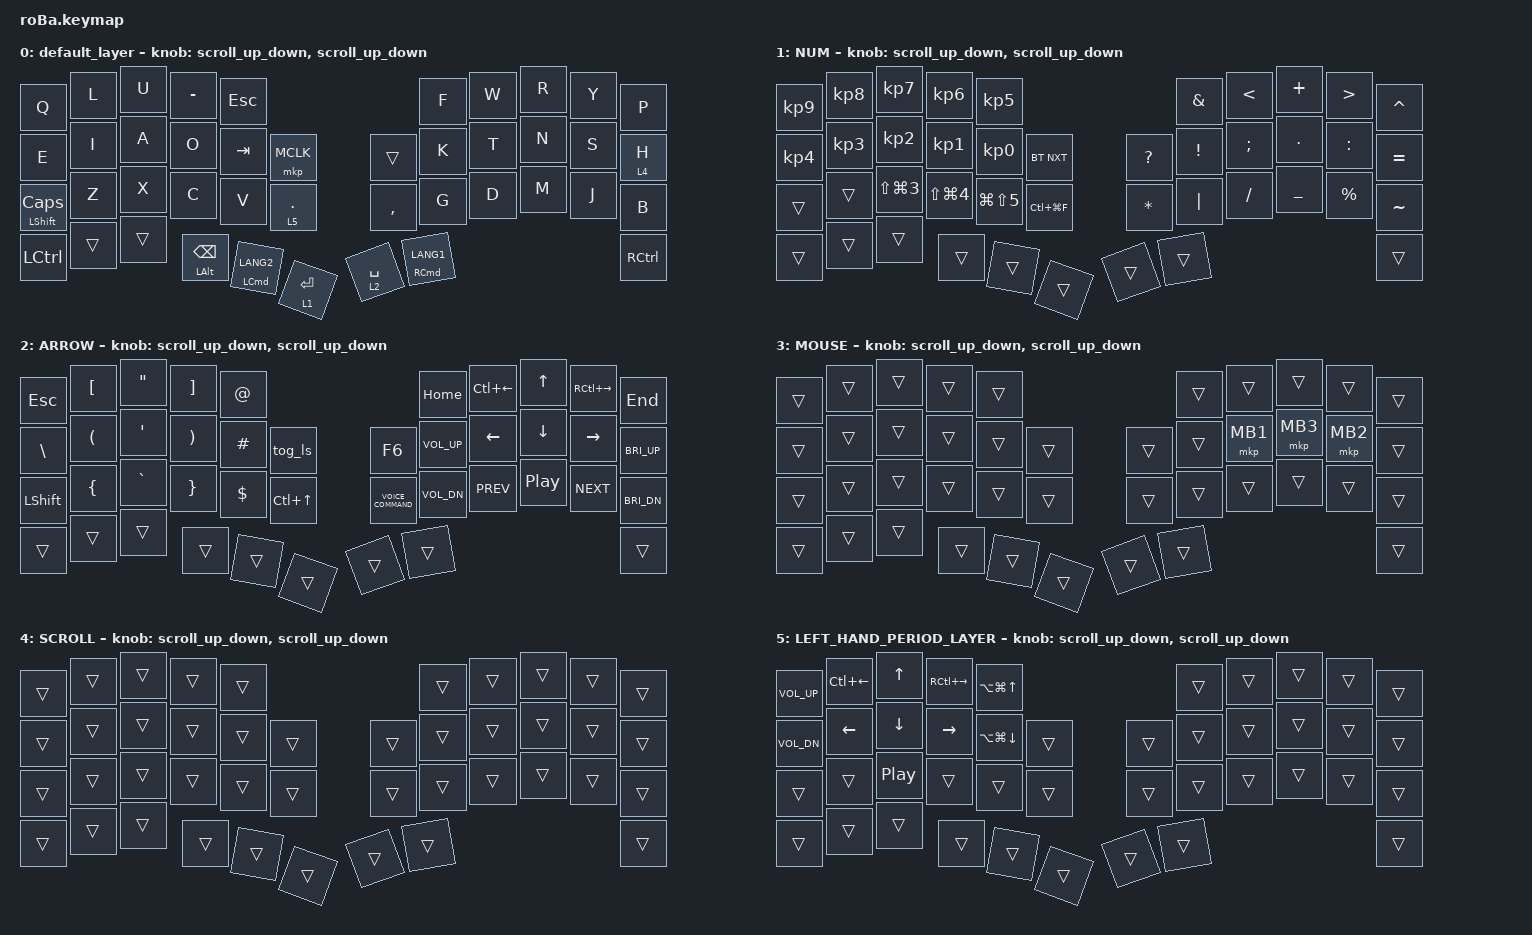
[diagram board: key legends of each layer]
#include <input/processors.dtsi>
#include <layout_shift.dtsi>
#include <layout_shift_kp_override.dtsi>
#include <behaviors.dtsi>
#include <dt-bindings/zmk/bt.h>
#include <dt-bindings/zmk/keys.h>
#include <dt-bindings/zmk/pointing.h>

#define ZMK_POINTING_DEFAULT_SCRL_VAL 100
#define MOUSE 3 // 各自のマウスレイヤーに合わせて設定

&mkp_input_listener { input-processors = <&zip_temp_layer MOUSE 2500>; };

&mt {
    flavor = "balanced";
    quick-tap-ms = <0>;
};



/ {
    combos {
        compatible = "zmk,combos";
        // Press Q + P together to unlock Studio without replacing a key.
        studio_unlock_combo {
            timeout-ms = <50>;
            key-positions = <0 9>;
            bindings = <&studio_unlock>;
            slow-release;
        };
    };

    macros {
        to_layer_0: to_layer_0 {
            compatible = "zmk,behavior-macro-one-param";
            #binding-cells = <1>;
            bindings = <&to 0 &macro_param_1to1 &kp MACRO_PLACEHOLDER>;
            label = "TO_LAYER_0";
        };

    };

    behaviors {
        lt_to_layer_0: lt_to_layer_0 {
            compatible = "zmk,behavior-hold-tap";
            label = "LAYER_TAP_TO_0";
            bindings = <&mo>, <&to_layer_0>;

            #binding-cells = <2>;
            tapping-term-ms = <200>;
        };

        scroll_up_down: behavior_sensor_rotate_mouse_wheel_up_down {
            compatible = "zmk,behavior-sensor-rotate";
            #sensor-binding-cells = <0>;
            bindings = <&msc SCRL_UP>, <&msc SCRL_DOWN>;

            // 追加: スクロールのタップ時間を設定 (20ms)

            tap-ms = <20>;
        };

    };

    keymap {
        compatible = "zmk,keymap";

        default_layer {
            bindings = <
&kp Q                    &kp L   &kp U   &kp MINUS               &kp ESC                                               &kp F                    &kp W  &kp R  &kp Y  &kp P
&kp E                    &kp I   &kp A   &kp O                   &kp TAB                 &mkp MCLK        &trans       &kp K                    &kp T  &kp N  &kp S  &lt 4 H
&mt LEFT_SHIFT CAPSLOCK  &kp Z   &kp X   &kp C                   &kp V                   &lt 5 PERIOD      &kp COMMA    &kp G                    &kp D  &kp M  &kp J  &kp B
&kp LCTRL                &trans  &trans  &mt LEFT_ALT BACKSPACE  &mt LEFT_COMMAND LANG2  &lt 1 ENTER      &lt 2 SPACE  &mt RIGHT_COMMAND LANG1                       &kp RCTRL
            >;

            // 左右ともネイティブの通常スクロール。アプリ別変換はBTT側で行う。
            sensor-bindings = <&scroll_up_down>, <&scroll_up_down>;
        };

        NUM {
            bindings = <
&kp KP_NUMBER_9  &kp KP_NUMBER_8  &kp KP_NUMBER_7       &kp KP_NUMBER_6       &kp KP_NUMBER_5                                &kp AMPS         &kp LT     &kp PLUS   &kp GT     &kp CARET
&kp KP_NUMBER_4  &kp KP_NUMBER_3  &kp KP_NUMBER_2       &kp KP_NUMBER_1       &kp KP_NUMBER_0  &bt BT_NXT         &kp QMARK  &kp EXCLAMATION  &kp SEMI   &kp DOT    &kp COLON  &kp EQUAL
&trans           &trans           &kp LS(LG(NUMBER_3))  &kp LS(LG(NUMBER_4))  &kp LG(LS(N5))   &kp LC(LG(F))      &kp STAR   &kp PIPE         &kp SLASH  &kp UNDER  &kp PRCNT  &kp TILDE
&trans           &trans           &trans                &trans                &trans           &trans             &trans     &trans                                            &trans
            >;

            sensor-bindings = <&scroll_up_down>, <&scroll_up_down>;
        };

        ARROW {
            bindings = <
&kp ESCAPE      &kp LBKT  &kp DQT    &kp RBKT  &kp AT                                         &kp HOME      &kp LC(LEFT_ARROW)  &kp UP_ARROW      &kp RC(RIGHT_ARROW)  &kp END
&kp BACKSLASH   &kp LPAR  &kp SQT    &kp RPAR  &kp HASH  &tog_ls         &kp F6               &kp C_VOL_UP  &kp LEFT_ARROW      &kp DOWN_ARROW    &kp RIGHT_ARROW      &kp C_BRI_UP
&kp LEFT_SHIFT  &kp LBRC  &kp GRAVE  &kp RBRC  &kp DLLR  &kp LC(UP)      &kp C_VOICE_COMMAND  &kp C_VOL_DN  &kp C_PREV          &kp C_PLAY_PAUSE  &kp C_NEXT           &kp C_BRI_DN
&trans          &trans    &trans     &trans    &trans    &trans          &trans               &trans                                                                   &trans
            >;

            sensor-bindings = <&scroll_up_down>, <&scroll_up_down>;
        };

        MOUSE {
            bindings = <
&trans  &trans  &trans  &trans  &trans                      &trans  &trans    &trans    &trans    &trans
&trans  &trans  &trans  &trans  &trans  &trans      &trans  &trans  &mkp MB1  &mkp MB3  &mkp MB2  &trans
&trans  &trans  &trans  &trans  &trans  &trans      &trans  &trans  &trans    &trans    &trans    &trans
&trans  &trans  &trans  &trans  &trans  &trans      &trans  &trans                                &trans
            >;

            sensor-bindings = <&scroll_up_down>, <&scroll_up_down>;
        };

        SCROLL {
            bindings = <
&trans  &trans  &trans  &trans  &trans                      &trans  &trans  &trans  &trans  &trans
&trans  &trans  &trans  &trans  &trans  &trans      &trans  &trans  &trans  &trans  &trans  &trans
&trans  &trans  &trans  &trans  &trans  &trans      &trans  &trans  &trans  &trans  &trans  &trans
&trans  &trans  &trans  &trans  &trans  &trans      &trans  &trans                          &trans
            >;

            sensor-bindings = <&scroll_up_down>, <&scroll_up_down>;
        };

        // 左手のピリオドキーをホールドして使うメディア／タブ操作レイヤー。
        // ARROWレイヤーの矢印群を左手へ移植し、Downの真下をPlay/Pauseにする。
        // 通常時のTAB/Vはdefault layerのまま、ホールド中だけ既存の上下タブ移動を出す。
        // Q/Eには音量上下を置く。
        LEFT_HAND_PERIOD_LAYER {
            bindings = <
&kp C_VOL_UP  &kp LC(LEFT_ARROW)  &kp UP_ARROW     &kp RC(RIGHT_ARROW)  &kp LA(LG(UP_ARROW))  &trans      &trans  &trans  &trans  &trans
&kp C_VOL_DN  &kp LEFT_ARROW     &kp DOWN_ARROW   &kp RIGHT_ARROW      &kp LA(LG(DOWN_ARROW))  &trans      &trans  &trans  &trans  &trans  &trans  &trans
&trans        &trans              &kp C_PLAY_PAUSE  &trans              &trans                      &trans                      &trans  &trans  &trans  &trans  &trans  &trans
&trans  &trans  &trans  &trans  &trans  &trans      &trans  &trans                          &trans
            >;

            sensor-bindings = <&scroll_up_down>, <&scroll_up_down>;
        };
    };
};
